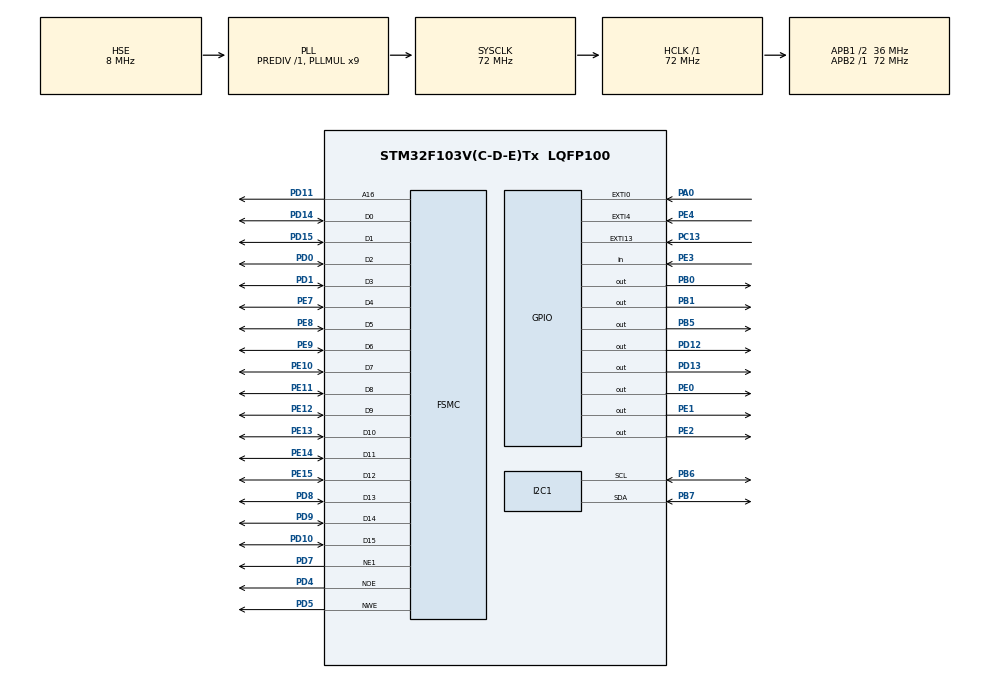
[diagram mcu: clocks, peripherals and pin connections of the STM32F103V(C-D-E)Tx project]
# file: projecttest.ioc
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Mcu.Family=STM32F1
Mcu.Name=STM32F103V(C-D-E)Tx
Mcu.Package=LQFP100
NVIC.EXTI0_IRQn=true\:0\:0\:false\:false\:true\:true\:true
NVIC.EXTI15_10_IRQn=true\:0\:0\:false\:false\:true\:true\:true
NVIC.EXTI4_IRQn=true\:0\:0\:false\:false\:true\:true\:true
NVIC.PriorityGroup=NVIC_PRIORITYGROUP_4
NVIC.TIM3_IRQn=true\:0\:0\:false\:false\:true\:true\:true
OSC_IN.Mode=HSE-External-Oscillator
OSC_IN.Signal=RCC_OSC_IN
OSC_OUT.Mode=HSE-External-Oscillator
OSC_OUT.Signal=RCC_OSC_OUT
PA0-WKUP.Signal=GPXTI0
PA13.Mode=Serial_Wire
PA13.Signal=SYS_JTMS-SWDIO
PA14.Mode=Serial_Wire
PA14.Signal=SYS_JTCK-SWCLK
PB0.GPIO_Speed=GPIO_SPEED_FREQ_HIGH
PB0.PinState=GPIO_PIN_SET
PB0.Signal=GPIO_Output
PB1.GPIO_Speed=GPIO_SPEED_FREQ_HIGH
PB1.PinState=GPIO_PIN_SET
PB1.Signal=GPIO_Output
PB5.GPIO_Speed=GPIO_SPEED_FREQ_HIGH
PB5.PinState=GPIO_PIN_SET
PB5.Signal=GPIO_Output
PB6.Mode=I2C
PB6.Signal=I2C1_SCL
PB7.Mode=I2C
PB7.Signal=I2C1_SDA
PC13-TAMPER-RTC.Signal=GPXTI13
PC14-OSC32_IN.Mode=LSE-External-Oscillator
PC14-OSC32_IN.Signal=RCC_OSC32_IN
PC15-OSC32_OUT.Mode=LSE-External-Oscillator
PC15-OSC32_OUT.Signal=RCC_OSC32_OUT
PD0.Mode=16b-d1
PD0.Signal=FSMC_D2
PD1.Mode=16b-d1
PD1.Signal=FSMC_D3
PD10.Mode=16b-d1
PD10.Signal=FSMC_D15
PD11.Mode=A16_1
PD11.Signal=FSMC_A16
PD12.GPIO_Speed=GPIO_SPEED_FREQ_HIGH
PD12.PinState=GPIO_PIN_RESET
PD12.Signal=GPIO_Output
PD13.GPIO_Speed=GPIO_SPEED_FREQ_HIGH
PD13.Signal=GPIO_Output
PD14.Mode=16b-d1
PD14.Signal=FSMC_D0
PD15.Mode=16b-d1
PD15.Signal=FSMC_D1
PD4.Mode=Lcd1
PD4.Signal=FSMC_NOE
PD5.Mode=Lcd1
PD5.Signal=FSMC_NWE
PD7.Mode=NorPsramChipSelect1_1
PD7.Signal=FSMC_NE1
PD8.Mode=16b-d1
PD8.Signal=FSMC_D13
PD9.Mode=16b-d1
PD9.Signal=FSMC_D14
PE0.GPIO_Speed=GPIO_SPEED_FREQ_HIGH
PE0.Signal=GPIO_Output
PE1.GPIO_Speed=GPIO_SPEED_FREQ_HIGH
PE1.PinState=GPIO_PIN_RESET
PE1.Signal=GPIO_Output
PE10.Mode=16b-d1
PE10.Signal=FSMC_D7
PE11.Mode=16b-d1
PE11.Signal=FSMC_D8
PE12.Mode=16b-d1
PE12.Signal=FSMC_D9
PE13.Mode=16b-d1
PE13.Signal=FSMC_D10
PE14.Mode=16b-d1
PE14.Signal=FSMC_D11
PE15.Mode=16b-d1
PE15.Signal=FSMC_D12
PE2.GPIO_Speed=GPIO_SPEED_FREQ_HIGH
PE2.Signal=GPIO_Output
PE3.GPIO_PuPd=GPIO_PULLUP
PE3.Signal=GPIO_Input
PE4.GPIO_ModeDefaultEXTI=GPIO_MODE_IT_FALLING
PE4.GPIO_PuPd=GPIO_PULLUP
PE4.Signal=GPXTI4
PE7.Mode=16b-d1
PE7.Signal=FSMC_D4
PE8.Mode=16b-d1
PE8.Signal=FSMC_D5
PE9.Mode=16b-d1
PE9.Signal=FSMC_D6
ProjectManager.HeapSize=0x200
ProjectManager.StackSize=0x400
ProjectManager.TargetToolchain=MDK-ARM V5
RCC.AHBFreq_Value=72000000
RCC.APB1CLKDivider=RCC_HCLK_DIV2
RCC.APB1Freq_Value=36000000
RCC.APB1TimFreq_Value=72000000
RCC.APB2Freq_Value=72000000
RCC.APB2TimFreq_Value=72000000
RCC.HCLKFreq_Value=72000000
RCC.PLLMUL=RCC_PLL_MUL9
RCC.PLLSourceVirtual=RCC_PLLSOURCE_HSE
RCC.SYSCLKFreq_VALUE=72000000
RCC.SYSCLKSource=RCC_SYSCLKSOURCE_PLLCLK
RCC.USBFreq_Value=72000000
TIM3.Period=10000-1
TIM3.Prescaler=72-1
VP_TIM3_VS_ClockSourceINT.Mode=Internal
board=custom

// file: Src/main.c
/* USER CODE BEGIN Header */
/**
  ******************************************************************************
  * @file           : main.c
  * @brief          : Main program body
  ******************************************************************************
  * @attention
  *
  * Copyright (c) 2022 STMicroelectronics.
  * All rights reserved.
  *
  * This software is licensed under terms that can be found in the LICENSE file
  * in the root directory of this software component.
  * If no LICENSE file comes with this software, it is provided AS-IS.
  *
  ******************************************************************************
  */
/* USER CODE END Header */
#include "main.h"
#include "i2c.h"
#include "tim.h"
#include "gpio.h"
#include "fsmc.h"

/* USER CODE BEGIN Includes */
#include "lcdtp.h"
#include "xpt2046.h"
#include "stdlib.h"
#include "math.h"
#include "stm32f1xx_it.h"
#include "esp8266.h"
#include "bsp_usart.h"
#include "string.h"

/* USER CODE END Includes */

/* USER CODE BEGIN PTD */
#define PI 3.141592654
/* USER CODE END PTD */

/* USER CODE BEGIN PV */
uint32_t cnt_tim3_10ms;
uint32_t start_cnt_tim3_10ms;
uint32_t css,ss,mm;
uint32_t cnt_tim4_10ms;
int countercounter=0;
/* USER CODE END PV */

void SystemClock_Config(void);

/* USER CODE BEGIN 0 */
void HAL_TIM_PeriodElapsedCallback(TIM_HandleTypeDef *htim){
if (htim->Instance ==TIM3){
		cnt_tim4_10ms++;
	if(countercounter==1){
		cnt_tim3_10ms++;

	}
	}

}
/* USER CODE END 0 */

int main(void)
{
  /* USER CODE BEGIN 1 */
	cnt_tim3_10ms=0;
		cnt_tim4_10ms=0;
  /* USER CODE END 1 */

  /* MCU Configuration--------------------------------------------------------*/

  /* Reset of all peripherals, Initializes the Flash interface and the Systick. */
  HAL_Init();

  /* Configure the system clock */
  SystemClock_Config();

  /* Initialize all configured peripherals */
  MX_GPIO_Init();
  MX_FSMC_Init();
  MX_TIM3_Init();
  MX_I2C1_Init();
  /* USER CODE BEGIN 2 */
	ESP8266_Init();
	 macXPT2046_CS_DISABLE();

	LCD_INIT();

	LCD_DrawString(70, 150, "Initializing...");
	ESP8266_PassThrough_Test();
		cnt_tim4_10ms=500;
		HAL_TIM_Base_Start_IT(&htim3);
  Get_Weather();
ConvertedValue=0;
ConvertedValue2=0;
  /* USER CODE END 2 */

  /* Infinite loop */
  /* USER CODE BEGIN WHILE */

	while( ! XPT2046_Touch_Calibrate () );

  /* USER CODE END 2 */

  /* Infinite loop */
  /* USER CODE BEGIN WHILE */
	int mod=0;
	int mod2=0;

  while (1)
  {
		if (mod==0){
			LCD_INIT();
			LCD_DrawString(70, 10, "Smart Watch");

			LCD_Clear ( 10,  40,  100, 100, BLUE	);
			LCD_Clear ( 120,  40,  100, 100, RED	);
			LCD_Clear ( 10,  160,  100, 100, GREEN	);
			LCD_Clear ( 120,  160,  100, 100, YELLOW	);
			LCD_DrawString_Color(15, 60, "temperature",BLUE,BLACK);
			LCD_DrawString_Color(30, 100, "humidity",BLUE,BLACK);
			LCD_DrawString_Color(150, 60, "timer",RED,BLACK);
			LCD_DrawString_Color(140, 100, "counter",RED,BLACK);
			LCD_DrawString_Color(30, 200, "drawing",GREEN,BLACK);
			LCD_DrawString_Color(140, 200, "compass",YELLOW,BLACK);
			while(mod==0){
				mod=Main_touchkey();
				if(ConvertedValue2==1){
					mod=10;
				}
			}}
    else if ( mod == 1 )
    {
			int x=0;
			LCD_INIT();
			LCD_Clear ( 0,  0,  240, 320, GREEN	);
			LCD_DrawString_Color(20, 130, "current HK temperature:",GREEN,BLACK);
			LCD_DrawString_Color(20, 180, "current HK humidity:",GREEN,BLACK);
			char output[16];
			sprintf(output, "%02d", TEMPERATURE);
	LCD_DrawString_Color(120,150,output,GREEN,BLACK);
				sprintf(output, "%02d", HUMIDITY);
			LCD_DrawString_Color(120,200,output,GREEN,BLACK);
			LCD_Clear ( 190, 0 ,  50, 50, BLACK	);
		LCD_DrawLine(190,0,240,50,RED);
		LCD_DrawLine(190,50,240,0,RED);
			while(x==0){
				x=Sub_touchkey();
				if(ConvertedValue2==1){
					x=1;
				}
			}
			mod=0;
    }

		else if ( mod == 2 )
    {
			int x=0;
			int count=0;
			char output[16];
			int digit1=0;
				int digit2=0;
				int digit3=0;
			if(mod2==0){
			LCD_INIT();
			LCD_Clear ( 0, 0 ,  240, 320, GREY	);
			LCD_Clear ( 10, 270 ,  60, 50, RED	);
			LCD_Clear ( 80, 270 ,  60, 50, GREY	);
			LCD_DrawString_Color(20,290,"Start",RED,BLACK);
			LCD_DrawString_Color(90,290,"Pause",GREY,BLACK);
				LCD_Clear ( 150, 270 ,  60, 50, GREEN	);
				LCD_DrawString_Color(160,290,"Reset",GREEN,BLACK);
			LCD_Clear ( 190, 0 ,  50, 50, BLACK	);
			LCD_Clear ( 30, 0 ,  100, 50, CYAN	);
					LCD_DrawString_Color(45,15,"Counter",CYAN,BLACK);
		LCD_DrawLine(190,0,240,50,RED);
		LCD_DrawLine(190,50,240,0,RED);
					cnt_tim3_10ms=0;
				digit1=0;
				digit2=0;
				digit3=0;
				LCD_DrawString(105,150,":");
				LCD_DrawString(145,150,":");
			while(x<4){
				x=Timer_touchkey();
				if(x==1){
						countercounter=1;
					LCD_Clear ( 10, 270 ,  60, 50, GREY	);
			LCD_Clear ( 80, 270 ,  60, 50, RED	);
			LCD_DrawString_Color(20,290,"Start",GREY,BLACK);
			LCD_DrawString_Color(90,290,"Stop",RED,BLACK);
				}
				if(x==2){
				countercounter=0;
				LCD_Clear ( 10, 270 ,  60, 50, RED	);
			LCD_Clear ( 80, 270 ,  60, 50, GREY	);
			LCD_DrawString_Color(20,290,"Start",RED,BLACK);
			LCD_DrawString_Color(90,290,"Stop",GREY,BLACK);
				}
				if(x==3){
					cnt_tim3_10ms=0;
					countercounter=0;
				LCD_Clear ( 10, 270 ,  60, 50, RED	);
			LCD_Clear ( 80, 270 ,  60, 50, GREY	);
			LCD_DrawString_Color(20,290,"Start",RED,BLACK);
			LCD_DrawString_Color(90,290,"Stop",GREY,BLACK);

				}
					digit3=cnt_tim3_10ms%100;
					sprintf(output, "%02d", digit3);
				LCD_DrawString(160,150,output);
				digit2=cnt_tim3_10ms/100;
				digit1=digit2/60;
				digit2=digit2%60;
				sprintf(output, "%02d", digit2);
		LCD_DrawString(120,150,output);
				sprintf(output, "%02d", digit1);
		LCD_DrawString(80,150,output);
				if(ConvertedValue2==1){
					x=5;
				}
			}
			if(x==5){
			mod=0;
			}
			else {mod2=1;}
    }
			else {

			LCD_INIT();
				LCD_Clear ( 0, 0 ,  240, 320, GREY	);
				int setted=0;
				int x1=0;
				int x2=0;
				uint32_t x3=0;
					LCD_Clear ( 60, 100 ,  120, 100,BLUE);
			LCD_DrawString_Color(90,140,"Set Time",BLUE,BLACK);
			LCD_Clear ( 10, 270 ,  60, 50, RED	);
			LCD_Clear ( 80, 270 ,  60, 50, GREY	);
					LCD_DrawString_Color(20,290,"Start",RED,BLACK);
			LCD_DrawString_Color(90,290,"Pause",GREY,BLACK);
				LCD_Clear ( 150, 270 ,  60, 50, GREEN	);
				LCD_DrawString_Color(160,290,"Reset",GREEN,BLACK);

			LCD_Clear ( 190, 0 ,  50, 50, BLACK	);
			LCD_Clear ( 30, 0 ,  100, 50, CYAN	);
					LCD_DrawString_Color(55,15,"Timer",CYAN,BLACK);
		LCD_DrawLine(190,0,240,50,RED);
		LCD_DrawLine(190,50,240,0,RED);
					cnt_tim3_10ms=0;
				digit1=0;
				digit2=0;
				digit3=0;
				while(x<5){
				x=Counter_touchkey();
				if(x==4){
				LCD_INIT();
					int y=0;
					LCD_Clear ( 0, 40 ,  70, 60, BLACK	);
			LCD_Clear ( 80, 40 ,  70, 60, BLACK	);
					LCD_Clear ( 160, 40 ,  70, 60, BLACK	);
		LCD_Clear ( 0, 110 ,  70, 60, BLACK	);
			LCD_Clear ( 80, 110 ,  70, 60, BLACK	);
					LCD_Clear ( 160, 110 ,  70, 60, BLACK	);
					LCD_Clear ( 0, 180 ,  70, 60, BLACK	);
			LCD_Clear ( 80, 180 ,  70, 60, BLACK	);
					LCD_Clear ( 160, 180 ,  70, 60, BLACK	);
				LCD_Clear ( 0,250  ,  70, 60, BLACK	);
					LCD_Clear ( 80,250  ,  70, 60, BLACK	);
					LCD_Clear ( 160,250  ,  70, 60, BLACK	);
					LCD_DrawChar(30,70,'1');
					LCD_DrawChar(110,70,'2');
					LCD_DrawChar(190,70,'3');
					LCD_DrawChar(30,140,'4');
					LCD_DrawChar(110,140,'5');
					LCD_DrawChar(190,140,'6');
					LCD_DrawChar(30,210,'7');
					LCD_DrawChar(110,210,'8');
					LCD_DrawChar(190,210,'9');
					LCD_DrawChar(110,280,'0');
					LCD_DrawLine(30,280,60,280,WHITE);
					LCD_DrawLine(30,280,50,300,WHITE);
					LCD_DrawLine(30,280,50,260,WHITE);
					LCD_DrawLine(170,280,200,280,WHITE);
					LCD_DrawLine(200,280,180,300,WHITE);
					LCD_DrawLine(200,280,180,260,WHITE);
					while(y<4){

						sprintf(output, "%02d", x1);
		LCD_DrawString(80,10,output);
				sprintf(output, "%02d", x2);
						LCD_DrawString(100,10,":");
		LCD_DrawString(110,10,output);

						x=Counter_touchpad();
						if(x<12){
						if(x<10){
							if(y==0){
							x1=x*10;
							LCD_DrawLine(80,25,88,25,BLACK);
							}
							else if (y==1){
								x1=x1+x;
								LCD_DrawLine(80,25,88,25,WHITE);
								LCD_DrawLine(88,25,96,25,BLACK);
							}
							else if(y==2){
							x2=x*10;
																LCD_DrawLine(88,25,96,25,WHITE);
								LCD_DrawLine(110,25,118,25,BLACK);
							}
							else if(y==3){
							x2=x2+x;
								LCD_DrawLine(110,25,118,25,WHITE);
								LCD_DrawLine(118,25,126,25,BLACK);
							}
							y++;
						}
							else if(x==10){
							if(y>0){
							y--;
							}
							}
						else if(x==11){
						y++;
						}
						}
						else {
						if(y==0){
							LCD_DrawLine(80,25,88,25,BLACK);
							LCD_DrawLine(88,25,96,25,WHITE);
							}
							else if (y==1){
								LCD_DrawLine(80,25,88,25,WHITE);
								LCD_DrawLine(88,25,96,25,BLACK);
								LCD_DrawLine(110,25,118,25,WHITE);
							}
							else if(y==2){
																LCD_DrawLine(88,25,96,25,WHITE);
								LCD_DrawLine(118,25,126,25,WHITE);
								LCD_DrawLine(110,25,118,25,BLACK);

							}
							else if(y==3){
								LCD_DrawLine(110,25,118,25,WHITE);
								LCD_DrawLine(118,25,126,25,BLACK);
							}

						}
					HAL_Delay(100);
						x=12;

					}

					x=0;
					setted=1;
					x3=(x1*6000)+(x2*100);
					LCD_INIT();
			LCD_Clear ( 10, 270 ,  60, 50, RED	);
			LCD_Clear ( 80, 270 ,  60, 50, GREY	);
			LCD_DrawString_Color(20,290,"Start",RED,BLACK);
			LCD_DrawString_Color(90,290,"Pause",GREY,BLACK);
				LCD_Clear ( 150, 270 ,  60, 50, GREEN	);
						LCD_DrawString_Color(160,290,"Reset",GREEN,BLACK);

					LCD_Clear ( 30, 0 ,  100, 50, CYAN	);
			LCD_DrawString_Color(55,15,"Timer",CYAN,BLACK);
			LCD_Clear ( 190, 0 ,  50, 50, BLACK	);

		LCD_DrawLine(190,0,240,50,RED);
		LCD_DrawLine(190,50,240,0,RED);
						LCD_DrawString(105,150,":");
				LCD_DrawString(145,150,":");
				}
			else	if(x==1){
						countercounter=1;
					LCD_Clear ( 10, 270 ,  60, 50, GREY	);
			LCD_Clear ( 80, 270 ,  60, 50, RED	);
					LCD_DrawString_Color(20,290,"Start",GREY,BLACK);
			LCD_DrawString_Color(90,290,"Pause",RED,BLACK);
				}
						else	if(x==2){

							countercounter=0;
				LCD_Clear ( 10, 270 ,  60, 50, RED	);
			LCD_Clear ( 80, 270 ,  60, 50, GREY	);
				LCD_DrawString_Color(20,290,"Start",RED,BLACK);
			LCD_DrawString_Color(90,290,"Pause",GREY,BLACK);
				}
							else	if(x==3){
						cnt_tim3_10ms=0;
					countercounter=0;
				LCD_Clear ( 10, 270 ,  60, 50, RED	);
			LCD_Clear ( 80, 270 ,  60, 50, GREY	);
				LCD_DrawString_Color(20,290,"Start",RED,BLACK);
			LCD_DrawString_Color(90,290,"Pause",GREY,BLACK);

				}
				if(setted==1){

				digit3=((x3-cnt_tim3_10ms))%100;
					sprintf(output, "%02d", digit3);
				LCD_DrawString(160,150,output);
				digit2=(x3-cnt_tim3_10ms)/100;
				digit1=digit2/60;
				digit2=digit2%60;
				sprintf(output, "%02d", digit2);
		LCD_DrawString(120,150,output);
				sprintf(output, "%02d", digit1);
		LCD_DrawString(80,150,output);

					if(x3<cnt_tim3_10ms){
						LCD_INIT();
						HAL_GPIO_WritePin(GPIOB, GPIO_PIN_5, GPIO_PIN_RESET);
						LCD_Clear(0,0,240,320,RED);
						LCD_DrawString_Color(80,150,"Time's up",RED,BLUE);
						HAL_Delay(500);
						HAL_GPIO_WritePin(GPIOB, GPIO_PIN_5, GPIO_PIN_SET);
						HAL_Delay(500);
						HAL_GPIO_WritePin(GPIOB, GPIO_PIN_5, GPIO_PIN_RESET);
						HAL_Delay(500);
						HAL_GPIO_WritePin(GPIOB, GPIO_PIN_5, GPIO_PIN_SET);
						HAL_Delay(500);
						HAL_GPIO_WritePin(GPIOB, GPIO_PIN_5, GPIO_PIN_RESET);
						HAL_Delay(500);
						HAL_GPIO_WritePin(GPIOB, GPIO_PIN_5, GPIO_PIN_SET);
						cnt_tim3_10ms=0;
					countercounter=0;
						LCD_INIT();
			LCD_Clear ( 10, 270 ,  60, 50, RED	);
			LCD_Clear ( 80, 270 ,  60, 50, GREY	);
					LCD_DrawString_Color(20,290,"Start",RED,BLACK);
			LCD_DrawString_Color(90,290,"Pause",GREY,BLACK);
				LCD_Clear ( 150, 270 ,  60, 50, GREEN	);
										LCD_DrawString_Color(160,290,"Reset",GREEN,BLACK);
											LCD_Clear ( 30, 0 ,  100, 50, CYAN	);
				LCD_DrawString_Color(55,15,"Timer",CYAN,BLACK);

			LCD_Clear ( 190, 0 ,  50, 50, BLACK	);

		LCD_DrawLine(190,0,240,50,RED);
		LCD_DrawLine(190,50,240,0,RED);
						LCD_DrawString(105,150,":");
				LCD_DrawString(145,150,":");
					}
				}
				if(ConvertedValue2==1){
					x=6;
				}
			}
			if(x==6){
			mod=0;
				mod2=0;
			}
			else {mod2=0;}
    }
	}
		else if ( mod == 3 )
    {
			LCD_INIT();
			int x=0;
			LCD_Clear ( 190, 0 ,  50, 50, BLACK	);
		LCD_DrawLine(190,0,240,50,RED);
		LCD_DrawLine(190,50,240,0,RED);
			LCD_Clear(50,0,100,30,BLUE);
			LCD_DrawString_Color(70,5,"Refresh",BLUE,WHITE);
			LCD_DrawString(5,5,"Color");
			while(x<=1){
				x=Draw_touchkey(ConvertedValue);
			if(ConvertedValue2==1){
					x=2;
				}
			if(ConvertedValue==0){
			LCD_Clear(15,20,10,10,BLACK);
		}
		else if(ConvertedValue==1){
			LCD_Clear(15,20,10,10,RED);
		}
		else if(ConvertedValue==2){
			LCD_Clear(15,20,10,10,GREEN);
		}
		else if(ConvertedValue==3){
			LCD_Clear(15,20,10,10,BLUE);
		}
			if(x==1){
				LCD_INIT();
			int x=0;
			LCD_Clear ( 190, 0 ,  50, 50, BLACK	);
		LCD_DrawLine(190,0,240,50,RED);
		LCD_DrawLine(190,50,240,0,RED);
			LCD_Clear(50,0,100,30,BLUE);
			LCD_DrawString_Color(70,5,"Refresh",BLUE,WHITE);
			LCD_DrawString(5,5,"Color");
				x=0;
			}
			}
			mod=0;

    }
		else if ( mod == 4 )
    {
			LCD_INIT();
			LCD_Clear ( 0,  0,  240, 320, YELLOW	);
double angle;
	int temp=0;
	uint8_t CRA = 0x70;
	uint8_t CRB = 0xA0;
	uint8_t abc = 0x01;
	uint8_t x1; uint8_t x2; uint8_t y1; uint8_t y2;
	int16_t x = 0; int16_t y = 0;

		LCD_DrawString_Color(100,130,"Angle:",YELLOW,BLACK);
			LCD_DrawString_Color(70,190,"Direction:",YELLOW,BLACK);
			LCD_Clear ( 190, 0 ,  50, 50, BLACK	);
		LCD_DrawLine(190,0,240,50,RED);
		LCD_DrawLine(190,50,240,0,RED);
			while(temp==0){
				temp=Sub_touchkey();
			__HAL_RCC_FSMC_CLK_DISABLE();
			__HAL_RCC_I2C1_CLK_ENABLE();
				HAL_I2C_Mem_Write(&hi2c1,0x1E<<1,0x00,1,&CRA,1,100);
HAL_I2C_Mem_Write(&hi2c1,0x1E<<1,0x01,1,&CRB,1,100);
		HAL_I2C_Mem_Write(&hi2c1,0x1E<<1,0x02,1,&abc,1,100);
		HAL_Delay(50);

		HAL_I2C_Mem_Read(&hi2c1,0x1E<<1,0x03,1,&x1,1,100);
		HAL_I2C_Mem_Read(&hi2c1,0x1E<<1,0x04,1,&x2,1,100);
		x=((uint16_t)x1 << 8) | x2;
		HAL_I2C_Mem_Read(&hi2c1,0x1E<<1,0x07,1,&y1,1,100);
		HAL_I2C_Mem_Read(&hi2c1,0x1E<<1,0x08,1,&y2,1,100);
			y=((uint16_t)y1 << 8) | y2;

		__HAL_RCC_I2C1_CLK_DISABLE();
		__HAL_RCC_FSMC_CLK_ENABLE();
	char output[16];

	angle=atan2((double)x,(double)y);
		angle=angle*180/PI;
		int degree=angle;
		 degree=(degree+360)%360;
		sprintf(output, "%03d", degree);
	LCD_DrawString_Color(150,130,output,YELLOW,BLACK);
		if(degree>337.5||degree<22.5){
			LCD_DrawString_Color(150,190,"N",YELLOW,BLACK);
			LCD_Clear(158,190,8,16,YELLOW);
		}
		else if (degree>22.5&&degree<67.5){
			LCD_DrawString_Color(150,190,"NE",YELLOW,BLACK);
		}
		else if (degree>67.5&&degree<112.5){
			LCD_DrawString_Color(150,190,"E",YELLOW,BLACK);	LCD_Clear(158,190,8,16,YELLOW);
		}
		else if (degree>112.5&&degree<157.5){
			LCD_DrawString_Color(150,190,"SE",YELLOW,BLACK);
		}
		else if (degree>157.5&&degree<202.5){
			LCD_DrawString_Color(150,190,"S",YELLOW,BLACK);	LCD_Clear(158,190,8,16,YELLOW);
		}
		else if (degree>202.5&&degree<247.5){
			LCD_DrawString_Color(150,190,"SW",YELLOW,BLACK);
		}
		else if (degree>247.5&&degree<292.5){
			LCD_DrawString_Color(150,190,"W",YELLOW,BLACK);	LCD_Clear(158,190,8,16,YELLOW);
		}
		else if (degree>292.5&&degree<337.5){
			LCD_DrawString_Color(150,190,"NW",YELLOW,BLACK);
		}
			if(ConvertedValue2==1){
			temp=1;
			}
			}
			mod=0;
    }

		if (ConvertedValue2==1){
		LCD_INIT();
			char output[16];
			LCD_DrawString(105,150,":");
				LCD_DrawString(145,150,":");
			mod=0;

		while(ConvertedValue2==1){

		int digit1=0;
				int digit2=0;
				int digit3=0;
			int digit4;
			digit4=(cnt_tim4_10ms/100)+TIMES;

				digit3=digit4/3600;
				digit2=(digit4-(digit3*3600))/60;
				digit1=digit4-((digit3*3600)+(digit2*60));
			sprintf(output, "%02d", digit1);
				LCD_DrawString(160,150,output);
				sprintf(output, "%02d", digit2);
		LCD_DrawString(120,150,output);
				sprintf(output, "%02d", digit3);
		LCD_DrawString(80,150,output);
		}
	}
		HAL_Delay(50);

    /* USER CODE END WHILE */

  }
}

void SystemClock_Config(void)
{
  RCC_OscInitTypeDef RCC_OscInitStruct = {0};
  RCC_ClkInitTypeDef RCC_ClkInitStruct = {0};

  /** Initializes the RCC Oscillators according to the specified parameters
  * in the RCC_OscInitTypeDef structure.
  */
  RCC_OscInitStruct.OscillatorType = RCC_OSCILLATORTYPE_HSE;
  RCC_OscInitStruct.HSEState = RCC_HSE_ON;
  RCC_OscInitStruct.HSEPredivValue = RCC_HSE_PREDIV_DIV1;
  RCC_OscInitStruct.HSIState = RCC_HSI_ON;
  RCC_OscInitStruct.PLL.PLLState = RCC_PLL_ON;
  RCC_OscInitStruct.PLL.PLLSource = RCC_PLLSOURCE_HSE;
  RCC_OscInitStruct.PLL.PLLMUL = RCC_PLL_MUL9;
  if (HAL_RCC_OscConfig(&RCC_OscInitStruct) != HAL_OK)
  {
    Error_Handler();
  }
  /** Initializes the CPU, AHB and APB buses clocks
  */
  RCC_ClkInitStruct.ClockType = RCC_CLOCKTYPE_HCLK|RCC_CLOCKTYPE_SYSCLK
                              |RCC_CLOCKTYPE_PCLK1|RCC_CLOCKTYPE_PCLK2;
  RCC_ClkInitStruct.SYSCLKSource = RCC_SYSCLKSOURCE_PLLCLK;
  RCC_ClkInitStruct.AHBCLKDivider = RCC_SYSCLK_DIV1;
  RCC_ClkInitStruct.APB1CLKDivider = RCC_HCLK_DIV2;
  RCC_ClkInitStruct.APB2CLKDivider = RCC_HCLK_DIV1;

  if (HAL_RCC_ClockConfig(&RCC_ClkInitStruct, FLASH_LATENCY_2) != HAL_OK)
  {
    Error_Handler();
  }
}

void Error_Handler(void)
{
  __disable_irq();
  while (1)
  {
  }
}
